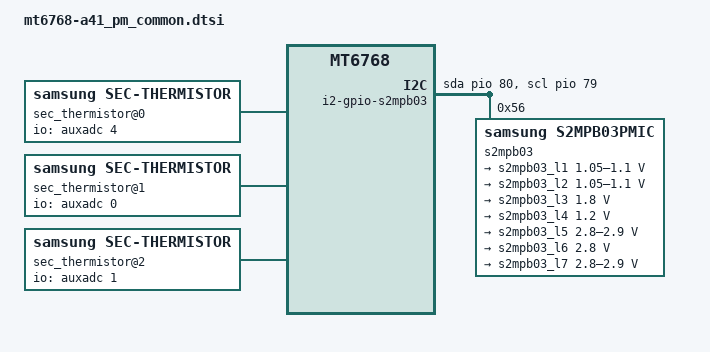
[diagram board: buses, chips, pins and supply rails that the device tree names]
/* Copyright (c) 2019, The Linux Foundation. All rights reserved.
 *
 * This program is free software; you can redistribute it and/or modify
 * it under the terms of the GNU General Public License version 2 and
 * only version 2 as published by the Free Software Foundation.
 *
 * This program is distributed in the hope that it will be useful,
 * but WITHOUT ANY WARRANTY; without even the implied warranty of
 * MERCHANTABILITY or FITNESS FOR A PARTICULAR PURPOSE.  See the
 * GNU General Public License for more details.
 */

&pio {
	s2mpb03_i2c_default: s2mpb03_i2c_default {
		pins_cmd_dat {
			pinmux = <PINMUX_GPIO79__FUNC_GPIO79>, <PINMUX_GPIO80__FUNC_GPIO80>;
			input-enable;
			slew-rate = <0>;
			bias-disable;
		};
	};
};

/ {
	fragment@model {
		target-path = "/";
		__overlay__ {
			/* S2MPB03 Camera PMIC */
			i2-gpio-s2mpb03 {
				status = "okay";
				compatible = "i2c-gpio";
				i2c-gpio,delay-us = <2>;/* ~100 kHz */
				#address-cells = <1>;
				#size-cells = <0>;
				gpios = <&pio 80 0 /* sda */
					&pio 79 0 /* scl */>;

				pinctrl-names = "default";
				pinctrl-0 = <&s2mpb03_i2c_default>;

				s2mpb03@56 {
					compatible = "samsung,s2mpb03pmic";
					reg = <0x56>;
					additional_reg_init;
					regulators {
						s2mpb03_l1: s2mpb03-ldo1 {	/* RCAM1_DVDD_1P1 */
							regulator-name = "s2mpb03-ldo1";
							regulator-min-microvolt = <1050000>;
							regulator-max-microvolt = <1100000>;
						};
						s2mpb03_l2: s2mpb03-ldo2 {	/* FCAM_DVDD_1P05 */
							regulator-name = "s2mpb03-ldo2";
							regulator-min-microvolt = <1050000>;
							regulator-max-microvolt = <1100000>;
						};
						s2mpb03_l3: s2mpb03-ldo3 {	/* CAM_DVDDIO_1P8 */
							regulator-name = "s2mpb03-ldo3";
							regulator-min-microvolt = <1800000>;
							regulator-max-microvolt = <1800000>;
						};
						s2mpb03_l4: s2mpb03-ldo4 {	/* RCAM3_DVDD_1P2 */
							regulator-name = "s2mpb03-ldo4";
							regulator-min-microvolt = <1200000>;
							regulator-max-microvolt = <1200000>;
						};
						s2mpb03_l5: s2mpb03-ldo5 {	/* RCAM1_AVDD1_2P9 */
							regulator-name = "s2mpb03-ldo5";
							regulator-min-microvolt = <2800000>;
							regulator-max-microvolt = <2900000>;
						};
						s2mpb03_l6: s2mpb03-ldo6 {	/* RCAM2_AVDD_2P8 */
							regulator-name = "s2mpb03-ldo6";
							regulator-min-microvolt = <2800000>;
							regulator-max-microvolt = <2800000>;
						};
						s2mpb03_l7: s2mpb03-ldo7 {	/* FCAM_AVDD_2P9 */
							regulator-name = "s2mpb03-ldo7";
							regulator-min-microvolt = <2800000>;
							regulator-max-microvolt = <2900000>;
						};
					};
				};
			};

			/* SEC Thermistor */
			sec_thermistor@0 {
				compatible = "samsung,sec-thermistor";
				status = "okay";
				thermistor_name = "sec-ap-thermistor";
				id = <0>;

				io-channels = <&auxadc 4>;
				io-channel-names = "ap_therm";
				io-channel-ranges;
				use_iio_processed;

				adc_array = <106 123 172 204 240 293 354 426 511 577
							626 754 842 946 1122 1338 1596 1877 2014 2205
							2404 2544 2837 3175 3461>;

				temp_array = <850 800 700 650 600 550 500 450 400 370
							350 300 270 250 200 150 100 50 30 0 
							(-30) (-50) (-100) (-150) (-200)>;
			};

			sec_thermistor@1 {
				compatible = "samsung,sec-thermistor";
				status = "okay";
				thermistor_name = "sec-pa-thermistor";
				id = <1>;

				io-channels = <&auxadc 0>;
				io-channel-names = "pa_therm";
				io-channel-ranges;
				use_iio_processed;

				adc_array = <111 134 187 221 263 308 362 432 514 570
							614 745 835 891 1084 1301 1558 1814 1925 2097
							2293 2441 2769 3156 3408>;

				temp_array = <850 800 700 650 600 550 500 450 400 370
							350 300 270 250 200 150 100 50 30 0 
							(-30) (-50) (-100) (-150) (-200)>;
			};

			sec_thermistor@2 {
				compatible = "samsung,sec-thermistor";
				status = "okay";
				thermistor_name = "sec-wf-thermistor";
				id = <2>;

				io-channels = <&auxadc 1>;
				io-channel-names = "wf_therm";
				io-channel-ranges;
				use_iio_processed;

				adc_array = <109 131 184 218 259 304 359 432 515 570
							614 746 838 899 1090 1310 1567 1829 1934 2118
							2300 2444 2783 3151 3432>;

				temp_array = <850 800 700 650 600 550 500 450 400 370
							350 300 270 250 200 150 100 50 30 0 
							(-30) (-50) (-100) (-150) (-200)>;
			};
		};
	};
};

&tboard_thermistor1 {
	io-channels = <&auxadc 4>;
};

&tboard_thermistor2 {
	io-channels = <&auxadc 0>;
};
